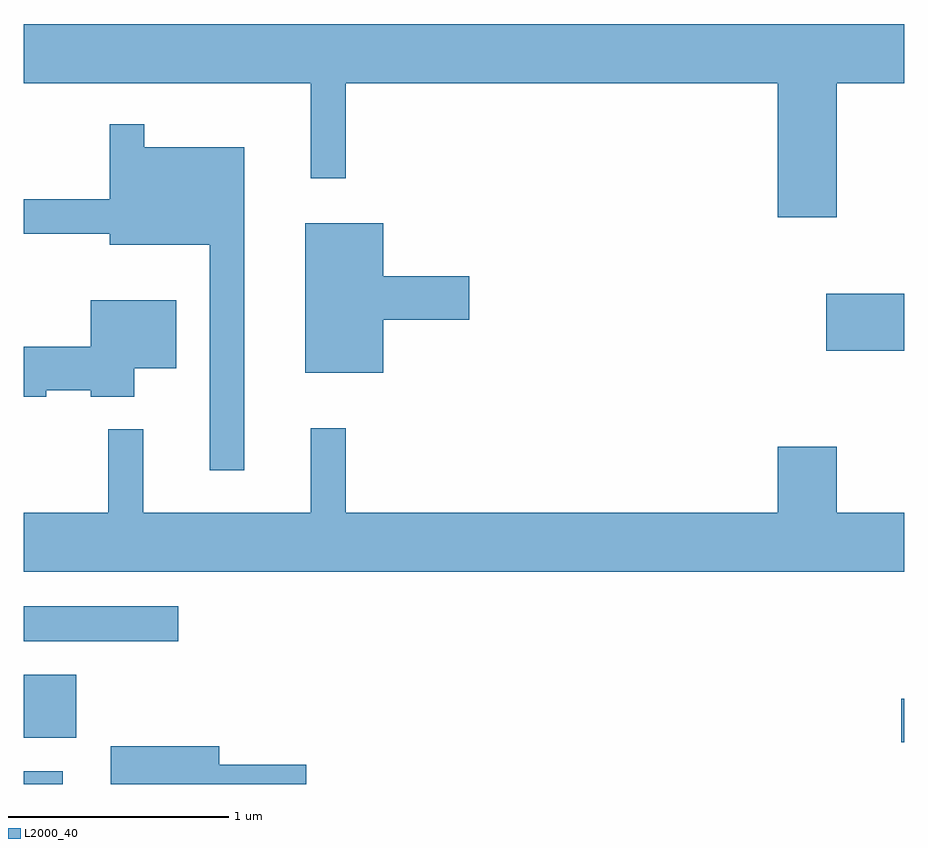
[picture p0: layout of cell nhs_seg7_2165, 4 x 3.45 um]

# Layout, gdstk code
import gdstk
lib = gdstk.Library(unit=1e-6, precision=1e-09)
def R(c, l, rs):  # rectangles x0, y0, x1, y1
    for r in rs: c.add(gdstk.rectangle(r[:2], r[2:], *l))
def P(c, l, *ps):  # polygons
    for p in ps: c.add(gdstk.Polygon(p, *l))
L2000_40 = (2000, 40)

nhs_seg7_2165 = lib.new_cell('nhs_seg7_2165')
R(nhs_seg7_2165, L2000_40, [(251.611,1702.252,251.789,1702.309), (255.596,1702.441,255.611,1702.639), (251.611,1702.461,251.849,1702.749), (251.611,1702.901,252.313,1703.059), (255.256,1704.221,255.611,1704.479)])
P(nhs_seg7_2165, L2000_40, [(255.304,1705.436),(255.611,1705.436),(255.611,1705.704),(251.611,1705.704),(251.611,1705.436),(252.916,1705.436),(252.916,1705.003),(253.074,1705.003),(253.074,1705.436),(255.036,1705.436),(255.036,1704.826),(255.304,1704.826)],
  [(252.614,1705.144),(252.159,1705.144),(252.159,1705.248),(252.001,1705.248),(252.001,1704.909),(251.611,1704.909),(251.611,1704.751),(252.001,1704.751),(252.001,1704.701),(252.456,1704.701),(252.456,1703.678),(252.614,1703.678)],
  [(253.244,1704.361),(253.634,1704.361),(253.634,1704.559),(253.244,1704.559),(253.244,1704.799),(252.891,1704.799),(252.891,1704.121),(253.244,1704.121)],
  [(251.714,1704.041),(251.916,1704.041),(251.916,1704.011),(252.114,1704.011),(252.114,1704.141),(252.304,1704.141),(252.304,1704.449),(251.916,1704.449),(251.916,1704.239),(251.611,1704.239),(251.611,1704.011),(251.714,1704.011)],
  [(255.611,1703.484),(255.304,1703.484),(255.304,1703.784),(255.036,1703.784),(255.036,1703.484),(253.074,1703.484),(253.074,1703.868),(252.916,1703.868),(252.916,1703.484),(252.154,1703.484),(252.154,1703.863),(251.996,1703.863),(251.996,1703.484),(251.611,1703.484),(251.611,1703.216),(255.611,1703.216)],
  [(252.894,1702.339),(252.499,1702.339),(252.499,1702.424),(252.006,1702.424),(252.006,1702.252),(252.894,1702.252)])

lib.write_gds('nhs_seg7_2165.gds')
